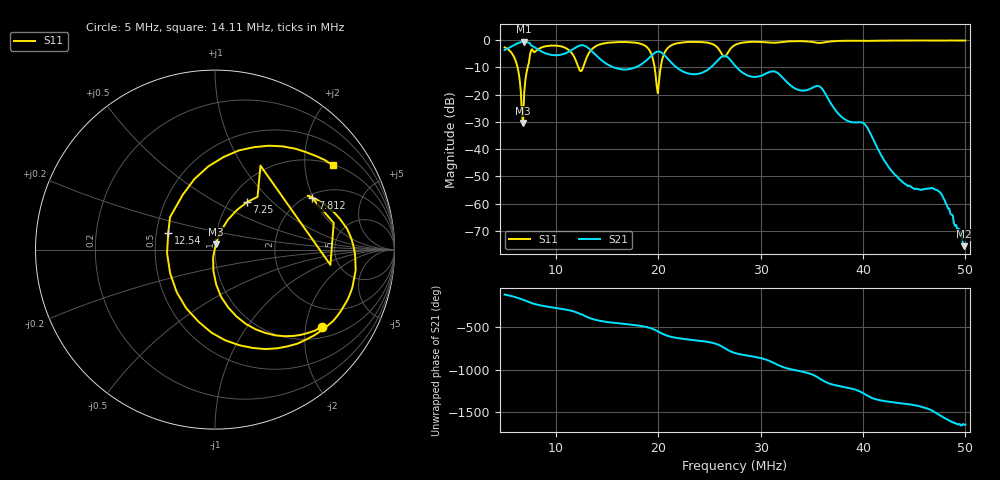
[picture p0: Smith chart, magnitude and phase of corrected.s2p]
! S11/S21 only; reverse parameters are placeholders. Device calibration unverified.
! [Saver CAL applied] C:\Users\aknya\MyProjects\rf-simulator\calibration2.cal | Ideal standards assumed | Input: NanoVNA F V2 profile | COM3 | 2026-09-08T11:36:31.6613405-04:00 | device calibration unverified
# HZ S RI R 50
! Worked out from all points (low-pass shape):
!   401 points, 5 MHz to 50 MHz, reference 50 ohm
!   highest |S21| = -0.65 dB at 6.912 MHz (marker M1); lowest = -75.6 dB at 49.89 MHz (marker M2)
!   |S21| within 3 dB of the highest: start of sweep to 8.356 MHz; 11.55 MHz to 13.39 MHz (1.837 MHz wide, 14.7 % of centre)
!   lowest |S11| = -30.4 dB at 6.8 MHz (marker M3), VSWR 1.06, Z = 50.3 + j3.02 ohm
!   |S11| at or under -10 dB: 6.26 MHz to 7.246 MHz (985.5 kHz wide, 14.6 % of centre); 12.21 MHz to 12.67 MHz (460.2 kHz wide, 3.7 % of centre); 19.64 MHz to 20.25 MHz (600.7 kHz wide, 3.01 % of centre)
!   S12 and S22 are empty: the file has one direction only
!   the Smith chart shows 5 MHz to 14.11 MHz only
!   S11 on the Smith chart (normalised r, x): 5 MHz: 1.31, -2.46; 7.25 MHz: 1.21, +0.71; 7.812 MHz: 2.14, +1.97; 12.54 MHz: 0.58, +0.12; 14.11 MHz: 1.03, +2.78
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5000000  0.5936 -0.4315  -0.3723 -0.5435  0 0  0 0
6800000  0.00412 0.03  -0.9229 0.0954  0 0  0 0
6912500  0.0319 0.1025  -0.9106 0.1777  0 0  0 0
7250000  0.1786 0.2645  -0.8134 0.3981  0 0  0 0
7812500  0.5431 0.2861  -0.4811 0.5891  0 0  0 0
9725000  0.7717 -0.1775  0.0509 0.5276  0 0  0 0
1.13e7  0.3459 -0.5501  0.3754 0.4886  0 0  0 0
1.25375e7  -0.2604 0.0935  0.8046 0.0188  0 0  0 0
1.41125e7  0.6571 0.4699  0.1962 -0.4454  0 0  0 0
1.67e7  0.9068 -0.1593  -0.0859 -0.2761  0 0  0 0
1.88375e7  0.4718 -0.5937  -0.3359 -0.2544  0 0  0 0
2.0075e7  -0.0434 0.1689  -0.5732 0.2261  0 0  0 0
2.1875e7  0.8682 0.0978  0.0102 0.3057  0 0  0 0
2.62625e7  0.4409 -0.3025  0.4886 -0.1148  0 0  0 0
2.75e7  0.7947 -0.1577  0.0165 -0.3397  0 0  0 0
3.09875e7  0.744 -0.5019  -0.2631 0.0243  0 0  0 0
3.50375e7  0.6303 -0.6765  0.1224 0.0517  0 0  0 0
4.02125e7  0.5195 -0.812  -0.0245 0.0139  0 0  0 0
4.2575e7  0.4407 -0.8718  0.002 0.00403  0 0  0 0
4.74125e7  0.2536 -0.9435  8.78e-05 -0.00167  0 0  0 0
4.98875e7  0.1611 -0.9666  -0.000153 6.62e-05  0 0  0 0
5e7  0.158 -0.9666  -0.000157 6.69e-05  0 0  0 0
